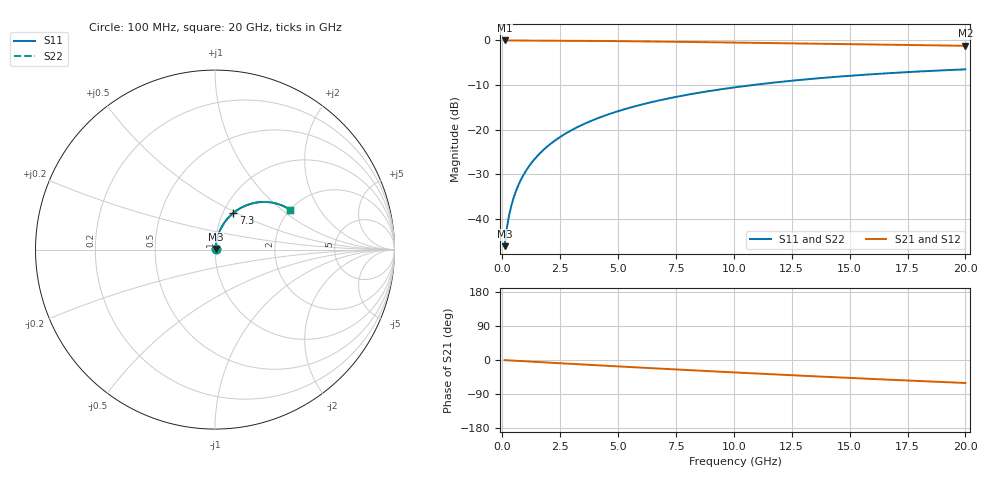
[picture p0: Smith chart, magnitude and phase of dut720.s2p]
! Touchstone file exported from HFSS 2026.1.0
!  File:  C:/ffzhzh/LocalFiles/Ansys_Project_Files/temp_train_BSMRDL_720_1783168330_18472.aedt
!  Generated:  08:33:35 PM Jul  4, 2026
!  Design:  BSMRDL
!  Project:  temp_train_BSMRDL_720_1783168330_18472
! Variables:
!  h_bsmrdl = 3.89um
!  h_ox = 20um
!  h_rdl = 5um
!  h_sub = 80um
!  h_tmrdl = 5um
!  h_tsv = 80um
!  h_via = 3um
!  l_bsmrdl = 956.66um
!  l_sub = 1356.66um
!  l_tmrdl = 200um
!  m_sub = 200um
!  pitch = 58.34um
!  r_tsv = 6um
!  s_tmrdl = 10um
!  w_bsmrdl = 28.3um
!  w_sub = 500um
!  w_tmrdl = 12um
!  x_tsv_center1 = 206um
!  x_tsv_center2 = 1190.96um
!  x_tsv_center3 = 1402.96um
!  x_tsv_center4 = 2387.92um
!  x_tsv_center5 = 2599.92um
!  x_tsv_center6 = 3584.88um
# GHz S MA R 50.000000
! Terminal data exported
! Port[1] = BSM_RDL1_1_T1
! Port[2] = BSM_RDL1_1_T2
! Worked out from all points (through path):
!   200 points, 100 MHz to 20 GHz, reference 50 ohm
!   highest |S21| = -0.03 dB at 100 MHz (marker M1); lowest = -1.2 dB at 20 GHz (marker M2)
!   group delay of S21, straight-line fit = 8.43 ps
!   lowest |S11| = -46.1 dB at 100 MHz (marker M3), VSWR 1.01, Z = 50.3 + j0.371 ohm
!   |S11| at or under -10 dB: start of sweep to 10.82 GHz
!   |S22| runs from -46.1 to -6.5 dB; largest |S21 - S12| = 8.2e-15
!   S11 on the Smith chart (normalised r, x): 100 MHz: 1.01, +0.01; 7.3 GHz: 1.12, +0.48; 20 GHz: 2.00, +1.15
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0.1  0.004981 47.7  0.9967 -0.4  0.9967 -0.4  0.004981 47.7
! Gamma 0 0 0 0
! Port Impedance 50 0 50 0
0.2  0.008062 62.9  0.9964 -0.7  0.9964 -0.7  0.008062 62.9
0.3  0.01125 69.1  0.9961 -1.1  0.9961 -1.1  0.01125 69.1
0.4  0.01445 72.6  0.9959 -1.4  0.9959 -1.4  0.01445 72.6
0.5  0.01766 74.9  0.9958 -1.7  0.9958 -1.7  0.01766 74.9
0.7  0.02414 77.5  0.9955 -2.4  0.9955 -2.4  0.02414 77.5
1  0.03396 79.1  0.9951 -3.5  0.9951 -3.5  0.03396 79.1
1.2  0.04053 79.5  0.9947 -4.1  0.9947 -4.1  0.04053 79.5
1.4  0.0471 79.6  0.9943 -4.8  0.9943 -4.8  0.0471 79.6
1.7  0.05695 79.4  0.9937 -5.8  0.9937 -5.8  0.05695 79.4
2  0.06677 78.9  0.9929 -6.9  0.9929 -6.9  0.06677 78.9
2.7  0.08948 77.3  0.9906 -9.2  0.9906 -9.2  0.08948 77.3
3.5  0.115 75.1  0.9874 -11.9  0.9874 -11.9  0.115 75.1
4.2  0.1368 73.0  0.9841 -14.3  0.9841 -14.3  0.1368 73.0
5  0.1612 70.6  0.9797 -16.9  0.9797 -16.9  0.1612 70.5
6.8  0.2135 65.0  0.9684 -22.7  0.9684 -22.7  0.2135 65.0
7.3  0.2274 63.5  0.965 -24.3  0.965 -24.3  0.2274 63.4
8.6  0.262 59.5  0.9555 -28.4  0.9555 -28.4  0.262 59.5
10.1  0.2994 55.0  0.9439 -33.0  0.9439 -33.0  0.2994 55.0
13.4  0.3713 45.6  0.9173 -42.8  0.9173 -42.8  0.3714 45.5
16.7  0.4292 36.6  0.8916 -52.0  0.8916 -52.0  0.4292 36.5
20  0.4735 28.1  0.8691 -60.7  0.8691 -60.7  0.4735 27.9
